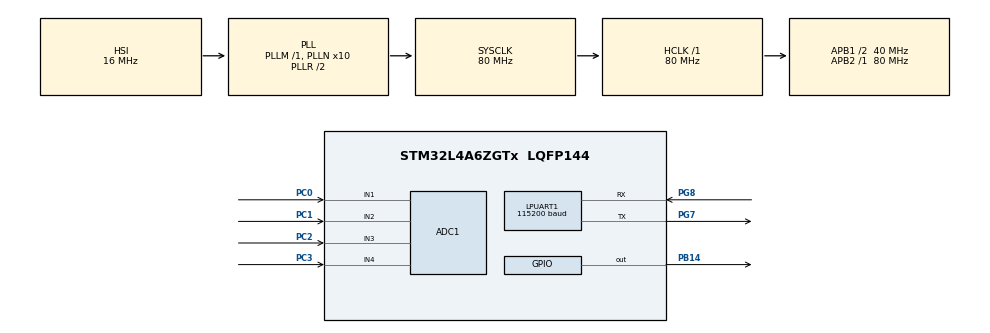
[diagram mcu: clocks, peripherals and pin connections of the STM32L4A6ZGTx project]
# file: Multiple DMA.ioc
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ADC1.Channel-0\#ChannelRegularConversion=ADC_CHANNEL_1
ADC1.Channel-1\#ChannelRegularConversion=ADC_CHANNEL_1
ADC1.ContinuousConvMode=ENABLE
ADC1.NbrOfConversion=2
ADC1.NbrOfConversionFlag=1
ADC1.OffsetNumber-0\#ChannelRegularConversion=ADC_OFFSET_NONE
ADC1.OffsetNumber-1\#ChannelRegularConversion=ADC_OFFSET_NONE
ADC1.Rank-0\#ChannelRegularConversion=1
ADC1.Rank-1\#ChannelRegularConversion=2
ADC1.SamplingTime-0\#ChannelRegularConversion=ADC_SAMPLETIME_247CYCLES_5
ADC1.SamplingTime-1\#ChannelRegularConversion=ADC_SAMPLETIME_247CYCLES_5
ADC1.master=1
Dma.ADC1.0.Direction=DMA_PERIPH_TO_MEMORY
Dma.ADC1.0.Instance=DMA1_Channel1
Dma.ADC1.0.MemDataAlignment=DMA_MDATAALIGN_HALFWORD
Dma.ADC1.0.MemInc=DMA_MINC_ENABLE
Dma.ADC1.0.Mode=DMA_NORMAL
Dma.ADC1.0.PeriphDataAlignment=DMA_PDATAALIGN_HALFWORD
Dma.ADC1.0.PeriphInc=DMA_PINC_DISABLE
Dma.ADC1.0.Priority=DMA_PRIORITY_LOW
Dma.Request0=ADC1
LPUART1.BaudRate=115200
LPUART1.WordLength=UART_WORDLENGTH_8B
Mcu.Family=STM32L4
Mcu.Name=STM32L4A6ZGTx
Mcu.Package=LQFP144
NVIC.ADC1_2_IRQn=true\:1\:0\:true\:false\:true\:true\:true\:true
NVIC.DMA1_Channel1_IRQn=true\:0\:0\:false\:false\:true\:false\:true\:true
NVIC.PriorityGroup=NVIC_PRIORITYGROUP_4
PB14.Signal=GPIO_Output
PC0.Signal=ADCx_IN1
PC1.Signal=ADCx_IN2
PC2.Signal=ADCx_IN3
PC3.Signal=ADCx_IN4
PG7.Mode=Asynchronous
PG7.Signal=LPUART1_TX
PG8.Mode=Asynchronous
PG8.Signal=LPUART1_RX
ProjectManager.HeapSize=0x200
ProjectManager.StackSize=0x400
ProjectManager.TargetToolchain=STM32CubeIDE
RCC.ADCFreq_Value=64000000
RCC.AHBFreq_Value=80000000
RCC.APB1CLKDivider=RCC_HCLK_DIV2
RCC.APB1Freq_Value=40000000
RCC.APB1TimFreq_Value=80000000
RCC.APB2Freq_Value=80000000
RCC.APB2TimFreq_Value=80000000
RCC.CortexFreq_Value=80000000
RCC.HCLKFreq_Value=80000000
RCC.HSE_VALUE=8000000
RCC.HSI48_VALUE=48000000
RCC.HSI_VALUE=16000000
RCC.MSI_VALUE=4000000
RCC.PLLN=10
RCC.PLLSourceVirtual=RCC_PLLSOURCE_HSI
RCC.SYSCLKFreq_VALUE=80000000
RCC.SYSCLKSource=RCC_SYSCLKSOURCE_PLLCLK
RCC.USBFreq_Value=64000000
RCC.VCOOutputFreq_Value=160000000
SH.ADCx_IN1.0=ADC1_IN1,IN1-Single-Ended
SH.ADCx_IN2.0=ADC1_IN2,IN2-Single-Ended
SH.ADCx_IN3.0=ADC1_IN3,IN3-Single-Ended
SH.ADCx_IN4.0=ADC1_IN4,IN4-Single-Ended
board=NUCLEO-L4A6ZG

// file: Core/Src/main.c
/* USER CODE BEGIN Header */
/**
  ******************************************************************************
  * @file           : main.c
  * @brief          : Main program body
  ******************************************************************************
  * @attention
  *
  * Copyright (c) 2024 STMicroelectronics.
  * All rights reserved.
  *
  * This software is licensed under terms that can be found in the LICENSE file
  * in the root directory of this software component.
  * If no LICENSE file comes with this software, it is provided AS-IS.
  *
  ******************************************************************************
  */
/* USER CODE END Header */
#include "main.h"

/* USER CODE BEGIN Includes */
#include <stdio.h>
#include <string.h>
/* USER CODE END Includes */

ADC_HandleTypeDef hadc1;
DMA_HandleTypeDef hdma_adc1;

UART_HandleTypeDef hlpuart1;

/* USER CODE BEGIN PV */
uint16_t lux = 0;  // Light sensor value
uint16_t pot = 0;  // Potentiometer value
uint16_t raw[2]; // Raw ADC values
char msg[30];      // Message buffer for UART
uint8_t convCompleted = 0;  // Conversion complete flag
/* USER CODE END PV */

void SystemClock_Config(void);
static void MX_GPIO_Init(void);
static void MX_DMA_Init(void);
static void MX_ADC1_Init(void);
static void MX_LPUART1_UART_Init(void);

/* USER CODE BEGIN 0 */
void HAL_ADC_ConvCpltCallback(ADC_HandleTypeDef *hadc)
{
    convCompleted = 1;
}
/* USER CODE END 0 */

int main(void)
{

  /* MCU Configuration--------------------------------------------------------*/

  /* Reset of all peripherals, Initializes the Flash interface and the Systick. */
  HAL_Init();

  /* Configure the system clock */
  SystemClock_Config();

  /* Initialize all configured peripherals */
  MX_GPIO_Init();
  MX_DMA_Init();
  MX_ADC1_Init();
  MX_LPUART1_UART_Init();
  /* USER CODE BEGIN 2 */
    HAL_ADC_Start_DMA(&hadc1, (uint32_t *)raw, 2);

  /* USER CODE END 2 */

  /* Infinite loop */
  /* USER CODE BEGIN WHILE */
    while (1)
    {
        if (convCompleted)
        {
            lux = raw[0];
            pot = raw[1];

            sprintf(msg, "Light: %hu \r\t\t", lux);
            HAL_UART_Transmit(&hlpuart1, (uint8_t *)msg, strlen(msg), HAL_MAX_DELAY);

            sprintf(msg, "POT: %hu \r\n", pot);
            HAL_UART_Transmit(&hlpuart1, (uint8_t *)msg, strlen(msg), HAL_MAX_DELAY);

            convCompleted = 0;
            HAL_ADC_Start_DMA(&hadc1, (uint32_t *)raw, 2);
        }

        HAL_Delay(100);
    /* USER CODE END WHILE */

    }
}

void SystemClock_Config(void)
{
  RCC_OscInitTypeDef RCC_OscInitStruct = {0};
  RCC_ClkInitTypeDef RCC_ClkInitStruct = {0};

  /** Configure the main internal regulator output voltage
  */
  if (HAL_PWREx_ControlVoltageScaling(PWR_REGULATOR_VOLTAGE_SCALE1) != HAL_OK)
  {
    Error_Handler();
  }

  /** Initializes the RCC Oscillators according to the specified parameters
  * in the RCC_OscInitTypeDef structure.
  */
  RCC_OscInitStruct.OscillatorType = RCC_OSCILLATORTYPE_HSI;
  RCC_OscInitStruct.HSIState = RCC_HSI_ON;
  RCC_OscInitStruct.HSICalibrationValue = RCC_HSICALIBRATION_DEFAULT;
  RCC_OscInitStruct.PLL.PLLState = RCC_PLL_ON;
  RCC_OscInitStruct.PLL.PLLSource = RCC_PLLSOURCE_HSI;
  RCC_OscInitStruct.PLL.PLLM = 1;
  RCC_OscInitStruct.PLL.PLLN = 10;
  RCC_OscInitStruct.PLL.PLLP = RCC_PLLP_DIV2;
  RCC_OscInitStruct.PLL.PLLQ = RCC_PLLQ_DIV2;
  RCC_OscInitStruct.PLL.PLLR = RCC_PLLR_DIV2;
  if (HAL_RCC_OscConfig(&RCC_OscInitStruct) != HAL_OK)
  {
    Error_Handler();
  }

  /** Initializes the CPU, AHB and APB buses clocks
  */
  RCC_ClkInitStruct.ClockType = RCC_CLOCKTYPE_HCLK|RCC_CLOCKTYPE_SYSCLK
                              |RCC_CLOCKTYPE_PCLK1|RCC_CLOCKTYPE_PCLK2;
  RCC_ClkInitStruct.SYSCLKSource = RCC_SYSCLKSOURCE_PLLCLK;
  RCC_ClkInitStruct.AHBCLKDivider = RCC_SYSCLK_DIV1;
  RCC_ClkInitStruct.APB1CLKDivider = RCC_HCLK_DIV2;
  RCC_ClkInitStruct.APB2CLKDivider = RCC_HCLK_DIV1;

  if (HAL_RCC_ClockConfig(&RCC_ClkInitStruct, FLASH_LATENCY_4) != HAL_OK)
  {
    Error_Handler();
  }
}

static void MX_ADC1_Init(void)
{

  ADC_MultiModeTypeDef multimode = {0};
  ADC_ChannelConfTypeDef sConfig = {0};

  /** Common config
  */
  hadc1.Instance = ADC1;
  hadc1.Init.ClockPrescaler = ADC_CLOCK_ASYNC_DIV1;
  hadc1.Init.Resolution = ADC_RESOLUTION_12B;
  hadc1.Init.DataAlign = ADC_DATAALIGN_RIGHT;
  hadc1.Init.ScanConvMode = ADC_SCAN_ENABLE;
  hadc1.Init.EOCSelection = ADC_EOC_SINGLE_CONV;
  hadc1.Init.LowPowerAutoWait = DISABLE;
  hadc1.Init.ContinuousConvMode = ENABLE;
  hadc1.Init.NbrOfConversion = 2;
  hadc1.Init.DiscontinuousConvMode = DISABLE;
  hadc1.Init.ExternalTrigConv = ADC_SOFTWARE_START;
  hadc1.Init.ExternalTrigConvEdge = ADC_EXTERNALTRIGCONVEDGE_NONE;
  hadc1.Init.DMAContinuousRequests = DISABLE;
  hadc1.Init.Overrun = ADC_OVR_DATA_PRESERVED;
  hadc1.Init.OversamplingMode = DISABLE;
  if (HAL_ADC_Init(&hadc1) != HAL_OK)
  {
    Error_Handler();
  }

  /** Configure the ADC multi-mode
  */
  multimode.Mode = ADC_MODE_INDEPENDENT;
  if (HAL_ADCEx_MultiModeConfigChannel(&hadc1, &multimode) != HAL_OK)
  {
    Error_Handler();
  }

  /** Configure Regular Channel
  */
  sConfig.Channel = ADC_CHANNEL_1;
  sConfig.Rank = ADC_REGULAR_RANK_1;
  sConfig.SamplingTime = ADC_SAMPLETIME_247CYCLES_5;
  sConfig.SingleDiff = ADC_SINGLE_ENDED;
  sConfig.OffsetNumber = ADC_OFFSET_NONE;
  sConfig.Offset = 0;
  if (HAL_ADC_ConfigChannel(&hadc1, &sConfig) != HAL_OK)
  {
    Error_Handler();
  }

  /** Configure Regular Channel
  */
  sConfig.Channel = ADC_CHANNEL_4;
    sConfig.Rank = ADC_REGULAR_RANK_2;
    sConfig.SamplingTime = ADC_SAMPLETIME_247CYCLES_5;
    sConfig.SingleDiff = ADC_SINGLE_ENDED;
    sConfig.OffsetNumber = ADC_OFFSET_NONE;
    sConfig.Offset = 0;
    if (HAL_ADC_ConfigChannel(&hadc1, &sConfig) != HAL_OK)
    {
      Error_Handler();
    }

}

static void MX_LPUART1_UART_Init(void)
{

  hlpuart1.Instance = LPUART1;
  hlpuart1.Init.BaudRate = 115200;
  hlpuart1.Init.WordLength = UART_WORDLENGTH_8B;
  hlpuart1.Init.StopBits = UART_STOPBITS_1;
  hlpuart1.Init.Parity = UART_PARITY_NONE;
  hlpuart1.Init.Mode = UART_MODE_TX_RX;
  hlpuart1.Init.HwFlowCtl = UART_HWCONTROL_NONE;
  hlpuart1.Init.OneBitSampling = UART_ONE_BIT_SAMPLE_DISABLE;
  hlpuart1.AdvancedInit.AdvFeatureInit = UART_ADVFEATURE_NO_INIT;
  if (HAL_UART_Init(&hlpuart1) != HAL_OK)
  {
    Error_Handler();
  }

}

static void MX_DMA_Init(void)
{

  /* DMA controller clock enable */
  __HAL_RCC_DMA1_CLK_ENABLE();

  /* DMA interrupt init */
  /* DMA1_Channel1_IRQn interrupt configuration */
  HAL_NVIC_SetPriority(DMA1_Channel1_IRQn, 0, 0);
  HAL_NVIC_EnableIRQ(DMA1_Channel1_IRQn);

}

static void MX_GPIO_Init(void)
{
  GPIO_InitTypeDef GPIO_InitStruct = {0};

  /* GPIO Ports Clock Enable */
  __HAL_RCC_GPIOC_CLK_ENABLE();
  __HAL_RCC_GPIOB_CLK_ENABLE();
  __HAL_RCC_GPIOG_CLK_ENABLE();
  HAL_PWREx_EnableVddIO2();

  /*Configure GPIO pin Output Level */
  HAL_GPIO_WritePin(GPIOB, GPIO_PIN_14, GPIO_PIN_RESET);

  /*Configure GPIO pin : PB14 */
  GPIO_InitStruct.Pin = GPIO_PIN_14;
  GPIO_InitStruct.Mode = GPIO_MODE_OUTPUT_PP;
  GPIO_InitStruct.Pull = GPIO_NOPULL;
  GPIO_InitStruct.Speed = GPIO_SPEED_FREQ_LOW;
  HAL_GPIO_Init(GPIOB, &GPIO_InitStruct);

}

void Error_Handler(void)
{
  __disable_irq();
  while (1)
  {
  }
}
